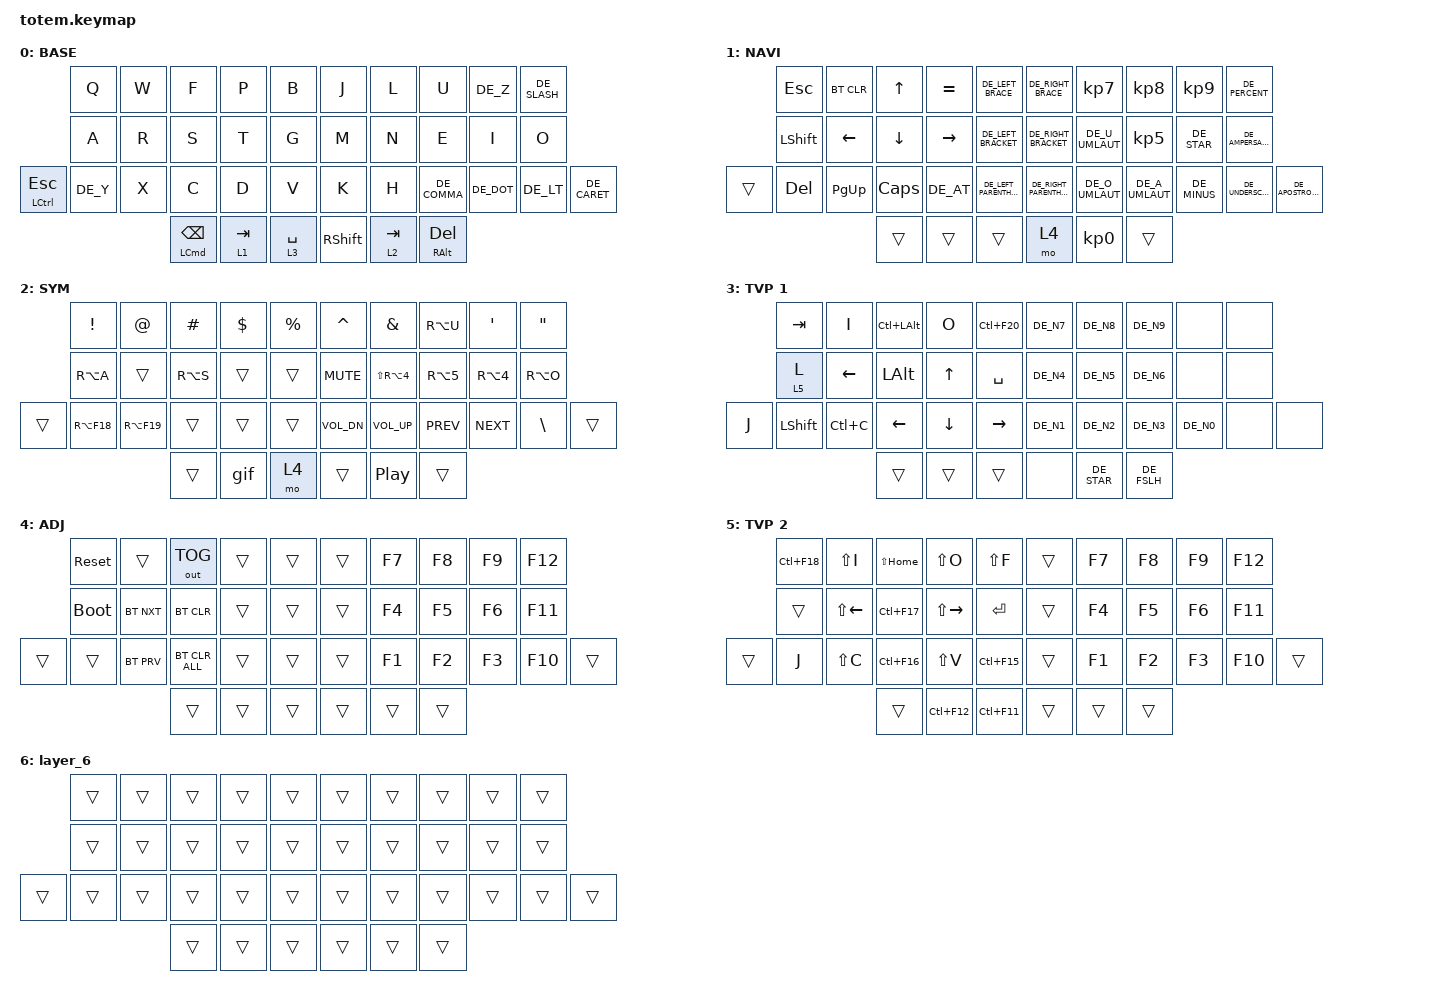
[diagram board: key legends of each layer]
//
//                                                        ▀▀▀▀▀     ▀▀▀▀▀          ▀▀█▀▀
//                                                        ▄▀▀▀▄  ▄  ▄▀▀▀▄  ▄  ▄▀▀▀▄  █  ▄▀▀▀▄
//                                                        █   █  █  █   █  █  █   █  █  █   █
//                                                         ▀▀▀   █   ▀▀▀   █   ▀▀▀   ▀   ▀▀▀
//                                                               █      ▄▄▄█▄▄▄    █   █  
//                                                               ▀      █  █  █     █▄█
//                                                             ▀▀▀▀▀    █  █  █      ▀
//                                                                      ▀  ▀  ▀
//
// ▄▄▄▄▄▄▄▄▄▄▄▄▄▄▄▄▄▄▄▄▄▄▄▄▄▄▄▄▄▄▄▄▄▄▄▄▄▄▄▄▄▄▄▄▄▄▄▄▄▄▄▄▄▄▄▄▄▄▄▄▄▄▄▄▄▄▄▄▄▄▄▄▄▄▄▄▄▄▄▄▄▄▄▄▄▄▄▄▄▄▄▄▄▄▄▄▄▄▄▄▄▄▄▄▄▄▄▄▄▄▄▄▄▄▄▄▄▄▄▄▄▄▄▄▄▄▄▄▄▄▄▄▄▄▄▄▄▄▄▄▄▄▄▄▄▄▄▄▄

#include "keys_de_swiss.h"
#include <behaviors.dtsi>
#include <dt-bindings/zmk/bt.h>
#include <dt-bindings/zmk/keys.h>
#include <dt-bindings/zmk/outputs.h>

#define BASE 0
#define NAV  1
#define SYM  2
#define ADJ  3
#define TVP1 4
#define TVP2 5

&mt {
    quick-tap-ms = <100>;
    global-quick-tap;
    flavor = "tap-preferred";
    tapping-term-ms = <170>;
};

/ {
    combos {
        compatible = "zmk,combos";

        combo_layer_3 {
            timeout-ms = <50>;
            key-positions = <0 1>;
            bindings = <&tog 4>;
        };

        combo_esc {
            timeout-ms = <100>;
            key-positions = <13 12>;
            bindings = <&kp ESC>;
        };

        combo_enter {
            bindings = <&kp ENTER>;
            key-positions = <16 17>;
        };
    };

    macros {
        gif: gif {
            label = "giphy";
            compatible = "zmk,behavior-macro";
            #binding-cells = <0>;
            bindings =
                <&macro_press>,
                <&kp LSHFT>,
                <&macro_tap>,
                <&kp N2>,
                <&macro_release>,
                <&kp LSHFT>,
                <&macro_tap>,
                <&kp G &kp I &kp F>;
        };
    };

    behaviors {
        hold_sticky: hold_sticky {
            compatible = "zmk,behavior-hold-tap";
            label = "HOLD_STICKY";
            bindings = <&kp>, <&sk>;

            #binding-cells = <2>;
            tapping-term-ms = <150>;
            quick-tap-ms = <220>;
        };
    };

    keymap {
        compatible = "zmk,keymap";

        // ▄▄▄▄▄▄▄▄▄▄▄▄▄▄▄▄▄▄▄▄▄▄▄▄▄▄▄▄▄▄▄▄▄▄▄▄▄▄▄▄▄▄▄▄▄▄▄▄▄▄▄▄▄▄▄▄▄▄▄▄▄▄▄▄▄▄▄▄▄▄▄▄▄▄▄▄▄▄▄▄▄▄▄▄▄▄▄▄▄▄▄▄▄▄▄▄▄▄▄▄▄▄▄▄▄▄▄▄▄▄▄▄▄▄▄▄▄▄▄▄▄▄▄▄▄▄▄▄▄▄▄▄▄▄▄▄▄▄▄▄▄▄▄▄▄▄▄▄▄

        base_layer {
            // ┏━━━━━━━━━━━━━━━━━━━━━━━━━━━━━━━━━━━━━━━┓

            label = "BASE";

            // ┗━━━━━━━━━━━━━━━━━━━━━━━━━━━━━━━━━━━━━━━┛
            //             ┏━━━━━━━━━━━┳━━━━━━━━━━━┳━━━━━━━━━━━┳━━━━━━━━━━━┳━━━━━━━━━━━┓   ┏━━━━━━━━━━━┳━━━━━━━━━━━┳━━━━━━━━━━━┳━━━━━━━━━━━┳━━━━━━━━━━━┓
            //             ┃     Q     ┃     W     ┃     F     ┃     P     ┃     G     ┃   ┃     J     ┃     L     ┃     U     ┃     Y     ┃     ;     ┃
            //             ┣━━━━━━━━━━━╋━━━━━━━━━━━╋━━━━━━━━━━━╋━━━━━━━━━━━╋━━━━━━━━━━━┫   ┣━━━━━━━━━━━╋━━━━━━━━━━━╋━━━━━━━━━━━╋━━━━━━━━━━━╋━━━━━━━━━━━┫
            //             ┃     A     ┃     R     ┃     S     ┃     T     ┃     D     ┃   ┃     H     ┃     N     ┃     E     ┃     I     ┃     O     ┃
            // ┏━━━━━━━━━━━╋━━━━━━━━━━━╋━━━━━━━━━━━╋━━━━━━━━━━━╋━━━━━━━━━━━╋━━━━━━━━━━━┫   ┣━━━━━━━━━━━╋━━━━━━━━━━━╋━━━━━━━━━━━╋━━━━━━━━━━━╋━━━━━━━━━━━╋━━━━━━━━━━━┓
            // ┃     Q     ┃     Z     ┃     X     ┃     C     ┃     V     ┃     B     ┃   ┃     K     ┃     M     ┃     ,     ┃     .     ┃     /     ┃     \     ┃
            // ┗━━━━━━━━━━━┻━━━━━━━━━━━┻━━━━━━━━━━━╋━━━━━━━━━━━╋━━━━━━━━━━━╋━━━━━━━━━━━┫   ┣━━━━━━━━━━━╋━━━━━━━━━━━╋━━━━━━━━━━━╋━━━━━━━━━━━┻━━━━━━━━━━━┻━━━━━━━━━━━┛
            //                                     ┃    DEL    ┃    TAB    ┃    SPC    ┃   ┃   ENTER   ┃           ┃   BSPC    ┃
            //                                     ┗━━━━━━━━━━━┻━━━━━━━━━━━┻━━━━━━━━━━━┛   ┗━━━━━━━━━━━┻━━━━━━━━━━━┻━━━━━━━━━━━┛

            bindings = <
                      &kp Q     &kp W  &kp F                       &kp P      &kp B          &kp J            &kp L      &kp U                 &kp DE_Z    &kp DE_SLASH
                      &kp A     &kp R  &kp S                       &kp T      &kp G          &kp M            &kp N      &kp E                 &kp I       &kp O
&mt LEFT_CONTROL ESC  &kp DE_Y  &kp X  &kp C                       &kp D      &kp V          &kp K            &kp H      &kp DE_COMMA          &kp DE_DOT  &kp DE_LT     &kp DE_CARET
                                       &mt LEFT_COMMAND BACKSPACE  &lt 1 TAB  &lt 3 SPACE    &kp RIGHT_SHIFT  &lt 2 TAB  &mt RIGHT_ALT DELETE
            >;
        };

        nav_layer {
            // ┏━━━━━━━━━━━━━━━━━━━━━━━━━━━━━━━━━━━━━━━┓

            label = "NAVI";

            // ┗━━━━━━━━━━━━━━━━━━━━━━━━━━━━━━━━━━━━━━━┛
            //             ┏━━━━━━━━━━━┳━━━━━━━━━━━┳━━━━━━━━━━━┳━━━━━━━━━━━┳━━━━━━━━━━━┓   ┏━━━━━━━━━━━┳━━━━━━━━━━━┳━━━━━━━━━━━┳━━━━━━━━━━━┳━━━━━━━━━━━┓
            //             ┃           ┃           ┃     UP    ┃           ┃     {     ┃   ┃     }     ┃     7     ┃     8     ┃     9     ┃     +     ┃
            //             ┣━━━━━━━━━━━╋━━━━━━━━━━━╋━━━━━━━━━━━╋━━━━━━━━━━━╋━━━━━━━━━━━┫   ┣━━━━━━━━━━━╋━━━━━━━━━━━╋━━━━━━━━━━━╋━━━━━━━━━━━╋━━━━━━━━━━━┫
            //             ┃   SHIFT   ┃   LEFT    ┃    DOWN   ┃   RIGHT   ┃     [     ┃   ┃     ]     ┃     4     ┃     5     ┃     6     ┃     -     ┃
            // ┏━━━━━━━━━━━╋━━━━━━━━━━━╋━━━━━━━━━━━╋━━━━━━━━━━━╋━━━━━━━━━━━╋━━━━━━━━━━━┫   ┣━━━━━━━━━━━╋━━━━━━━━━━━╋━━━━━━━━━━━╋━━━━━━━━━━━╋━━━━━━━━━━━╋━━━━━━━━━━━┓
            // ┃           ┃           ┃   P UP    ┃  C LOCK   ┃  P DOWN   ┃     (     ┃   ┃     )     ┃     1     ┃     2     ┃     3     ┃     *     ┃           ┃
            // ┗━━━━━━━━━━━┻━━━━━━━━━━━┻━━━━━━━━━━━╋━━━━━━━━━━━╋━━━━━━━━━━━╋━━━━━━━━━━━┫   ┣━━━━━━━━━━━╋━━━━━━━━━━━╋━━━━━━━━━━━╋━━━━━━━━━━━┻━━━━━━━━━━━┻━━━━━━━━━━━┛
            //                                     ┃           ┃    TAB    ┃    SPC    ┃   ┃    DEL    ┃     0     ┃           ┃
            //                                     ┗━━━━━━━━━━━┻━━━━━━━━━━━┻━━━━━━━━━━━┛   ┗━━━━━━━━━━━┻━━━━━━━━━━━┻━━━━━━━━━━━┛

            bindings = <
        &kp ESC    &bt BT_CLR  &kp UP    &kp EQUAL  &kp DE_LEFT_BRACE          &kp DE_RIGHT_BRACE        &kp KP_N7        &kp KP_N8        &kp KP_N9     &kp DE_PERCENT
        &kp LSHFT  &kp LEFT    &kp DOWN  &kp RIGHT  &kp DE_LEFT_BRACKET        &kp DE_RIGHT_BRACKET      &kp DE_U_UMLAUT  &kp KP_N5        &kp DE_STAR   &kp DE_AMPERSAND
&trans  &kp DEL    &kp PG_UP   &kp CAPS  &kp DE_AT  &kp DE_LEFT_PARENTHESIS    &kp DE_RIGHT_PARENTHESIS  &kp DE_O_UMLAUT  &kp DE_A_UMLAUT  &kp DE_MINUS  &kp DE_UNDERSCORE  &kp DE_APOSTROPHE
                               &trans    &trans     &trans                     &mo 4                     &kp KP_N0        &trans
            >;
        };

        sim_layer {
            // ┏━━━━━━━━━━━━━━━━━━━━━━━━━━━━━━━━━━━━━━━┓

            label = "SYM";

            // ┗━━━━━━━━━━━━━━━━━━━━━━━━━━━━━━━━━━━━━━━┛
            //             ┏━━━━━━━━━━━┳━━━━━━━━━━━┳━━━━━━━━━━━┳━━━━━━━━━━━┳━━━━━━━━━━━┓   ┏━━━━━━━━━━━┳━━━━━━━━━━━┳━━━━━━━━━━━┳━━━━━━━━━━━┳━━━━━━━━━━━┓
            //             ┃     !     ┃     @     ┃     #     ┃     $     ┃     %     ┃   ┃     ˆ     ┃     &     ┃     Ü     ┃     '     ┃     "     ┃
            //             ┣━━━━━━━━━━━╋━━━━━━━━━━━╋━━━━━━━━━━━╋━━━━━━━━━━━╋━━━━━━━━━━━┫   ┣━━━━━━━━━━━╋━━━━━━━━━━━╋━━━━━━━━━━━╋━━━━━━━━━━━╋━━━━━━━━━━━┫
            //             ┃     Ä     ┃           ┃    SZ     ┃           ┃           ┃   ┃   MUTE    ┃   YEN     ┃   EURO    ┃  POUND    ┃     Ö     ┃
            // ┏━━━━━━━━━━━╋━━━━━━━━━━━╋━━━━━━━━━━━╋━━━━━━━━━━━╋━━━━━━━━━━━╋━━━━━━━━━━━┫   ┣━━━━━━━━━━━╋━━━━━━━━━━━╋━━━━━━━━━━━╋━━━━━━━━━━━╋━━━━━━━━━━━╋━━━━━━━━━━━┓
            // ┃           ┃  EMAIL1   ┃  EMAIL2   ┃           ┃           ┃           ┃   ┃   VOL-    ┃   VOL+    ┃   LAST    ┃   NEXT    ┃     \     ┃           ┃
            // ┗━━━━━━━━━━━┻━━━━━━━━━━━┻━━━━━━━━━━━╋━━━━━━━━━━━╋━━━━━━━━━━━╋━━━━━━━━━━━┫   ┣━━━━━━━━━━━╋━━━━━━━━━━━╋━━━━━━━━━━━╋━━━━━━━━━━━┻━━━━━━━━━━━┻━━━━━━━━━━━┛
            //                                     ┃           ┃    GIF    ┃    ADJ    ┃   ┃           ┃           ┃           ┃
            //                                     ┗━━━━━━━━━━━┻━━━━━━━━━━━┻━━━━━━━━━━━┛   ┗━━━━━━━━━━━┻━━━━━━━━━━━┻━━━━━━━━━━━┛

            bindings = <
        &kp EXCL     &kp AT       &kp HASH   &kp DLLR  &kp PRCNT    &kp CARET     &kp AMPS        &kp RA(U)   &kp SQT     &kp DQT
        &kp RA(A)    &trans       &kp RA(S)  &trans    &trans       &kp C_MUTE    &kp LS(RA(N4))  &kp RA(N5)  &kp RA(N4)  &kp RA(O)
&trans  &kp RA(F18)  &kp RA(F19)  &trans     &trans    &trans       &kp C_VOL_DN  &kp C_VOL_UP    &kp C_PREV  &kp C_NEXT  &kp BSLH   &trans
                                  &trans     &gif      &mo 4        &trans        &kp C_PP        &trans
            >;
        };

        num_layer {
            // ┏━━━━━━━━━━━━━━━━━━━━━━━━━━━━━━━━━━━━━━━┓

            label = "TVP 1";

            // ┗━━━━━━━━━━━━━━━━━━━━━━━━━━━━━━━━━━━━━━━┛
            //             ┏━━━━━━━━━━━┳━━━━━━━━━━━┳━━━━━━━━━━━┳━━━━━━━━━━━┳━━━━━━━━━━━┓   ┏━━━━━━━━━━━┳━━━━━━━━━━━┳━━━━━━━━━━━┳━━━━━━━━━━━┳━━━━━━━━━━━┓
            //             ┃ NEXT FILE ┃ MARK IN   ┃ ROTATE    ┃ MARK OUT  ┃ SHOW SNAP ┃   ┃           ┃           ┃           ┃           ┃           ┃
            //             ┣━━━━━━━━━━━╋━━━━━━━━━━━╋━━━━━━━━━━━╋━━━━━━━━━━━╋━━━━━━━━━━━┫   ┣━━━━━━━━━━━╋━━━━━━━━━━━╋━━━━━━━━━━━╋━━━━━━━━━━━╋━━━━━━━━━━━┫
            //             ┃ TVP II    ┃ LEFT      ┃ PAN       ┃ RIGHT     ┃ PLAY/FLIP ┃   ┃           ┃           ┃           ┃           ┃           ┃
            // ┏━━━━━━━━━━━╋━━━━━━━━━━━╋━━━━━━━━━━━╋━━━━━━━━━━━╋━━━━━━━━━━━╋━━━━━━━━━━━┫   ┣━━━━━━━━━━━╋━━━━━━━━━━━╋━━━━━━━━━━━╋━━━━━━━━━━━╋━━━━━━━━━━━╋━━━━━━━━━━━┓
            // ┃ FULLSCR   ┃ SHIFT     ┃ COPY      ┃ DELETE    ┃ PASTE     ┃ IMG MARK  ┃   ┃           ┃           ┃           ┃           ┃           ┃           ┃
            // ┗━━━━━━━━━━━┻━━━━━━━━━━━┻━━━━━━━━━━━╋━━━━━━━━━━━╋━━━━━━━━━━━╋━━━━━━━━━━━┫   ┣━━━━━━━━━━━╋━━━━━━━━━━━╋━━━━━━━━━━━╋━━━━━━━━━━━┻━━━━━━━━━━━┻━━━━━━━━━━━┛
            //                                     ┃           ┃ UNDO/SAVE ┃  SEL/MOV  ┃   ┃           ┃           ┃           ┃
            //                                     ┗━━━━━━━━━━━┻━━━━━━━━━━━┻━━━━━━━━━━━┛   ┗━━━━━━━━━━━┻━━━━━━━━━━━┻━━━━━━━━━━━┛

            bindings = <
       &kp TAB    &kp I      &kp LC(LALT)    &kp O           &kp LC(F20)        &kp DE_N7  &kp DE_N8    &kp DE_N9    &none      &none
       &lt 5 L    &kp LEFT   &kp LALT        &kp UP_ARROW    &kp SPACE          &kp DE_N4  &kp DE_N5    &kp DE_N6    &none      &none
&kp J  &kp LSHFT  &kp LC(C)  &kp LEFT_ARROW  &kp DOWN_ARROW  &kp RIGHT_ARROW    &kp DE_N1  &kp DE_N2    &kp DE_N3    &kp DE_N0  &none  &none
                             &trans          &trans          &trans             &none      &kp DE_STAR  &kp DE_FSLH
            >;
        };

        adjust_layer {
            // ┏━━━━━━━━━━━━━━━━━━━━━━━━━━━━━━━━━━━━━━━┓

            label = "ADJ";

            // ┗━━━━━━━━━━━━━━━━━━━━━━━━━━━━━━━━━━━━━━━┛
            //             ┏━━━━━━━━━━━┳━━━━━━━━━━━┳━━━━━━━━━━━┳━━━━━━━━━━━┳━━━━━━━━━━━┓   ┏━━━━━━━━━━━┳━━━━━━━━━━━┳━━━━━━━━━━━┳━━━━━━━━━━━┳━━━━━━━━━━━┓
            //             ┃   RESET   ┃ BT CLEAR  ┃  OUT TOG  ┃           ┃           ┃   ┃           ┃    F7     ┃    F8     ┃    F9     ┃    F12    ┃
            //             ┣━━━━━━━━━━━╋━━━━━━━━━━━╋━━━━━━━━━━━╋━━━━━━━━━━━╋━━━━━━━━━━━┫   ┣━━━━━━━━━━━╋━━━━━━━━━━━╋━━━━━━━━━━━╋━━━━━━━━━━━╋━━━━━━━━━━━┫
            //             ┃ BOOTLOAD  ┃ BT NEXT   ┃           ┃           ┃           ┃   ┃           ┃    F4     ┃    F5     ┃    F6     ┃    F11    ┃
            // ┏━━━━━━━━━━━╋━━━━━━━━━━━╋━━━━━━━━━━━╋━━━━━━━━━━━╋━━━━━━━━━━━╋━━━━━━━━━━━┫   ┣━━━━━━━━━━━╋━━━━━━━━━━━╋━━━━━━━━━━━╋━━━━━━━━━━━╋━━━━━━━━━━━╋━━━━━━━━━━━┓
            // ┃           ┃           ┃ BT PREV   ┃           ┃           ┃           ┃   ┃           ┃    F1     ┃    F2     ┃    F3     ┃    F10    ┃           ┃
            // ┗━━━━━━━━━━━┻━━━━━━━━━━━┻━━━━━━━━━━━╋━━━━━━━━━━━╋━━━━━━━━━━━╋━━━━━━━━━━━┫   ┣━━━━━━━━━━━╋━━━━━━━━━━━╋━━━━━━━━━━━╋━━━━━━━━━━━┻━━━━━━━━━━━┻━━━━━━━━━━━┛
            //                                     ┃           ┃           ┃           ┃   ┃           ┃           ┃           ┃
            //                                     ┗━━━━━━━━━━━┻━━━━━━━━━━━┻━━━━━━━━━━━┛   ┗━━━━━━━━━━━┻━━━━━━━━━━━┻━━━━━━━━━━━┛

            bindings = <
        &sys_reset   &trans      &out OUT_TOG    &trans  &trans    &trans  &kp F7  &kp F8  &kp F9  &kp F12
        &bootloader  &bt BT_NXT  &bt BT_CLR      &trans  &trans    &trans  &kp F4  &kp F5  &kp F6  &kp F11
&trans  &trans       &bt BT_PRV  &bt BT_CLR_ALL  &trans  &trans    &trans  &kp F1  &kp F2  &kp F3  &kp F10  &trans
                                 &trans          &trans  &trans    &trans  &trans  &trans
            >;
        };

        tvp2_layer {
            // ┏━━━━━━━━━━━━━━━━━━━━━━━━━━━━━━━━━━━━━━━┓

            label = "TVP 2";

            // ┗━━━━━━━━━━━━━━━━━━━━━━━━━━━━━━━━━━━━━━━┛
            //             ┏━━━━━━━━━━━┳━━━━━━━━━━━┳━━━━━━━━━━━┳━━━━━━━━━━━┳━━━━━━━━━━━┓   ┏━━━━━━━━━━━┳━━━━━━━━━━━┳━━━━━━━━━━━┳━━━━━━━━━━━┳━━━━━━━━━━━┓
            //             ┃ SOLO      ┃ TOGGLE IN ┃ RESET ROT ┃ TOGGLE OUT┃ TAKE SNAP ┃   ┃           ┃           ┃           ┃           ┃           ┃
            //             ┣━━━━━━━━━━━╋━━━━━━━━━━━╋━━━━━━━━━━━╋━━━━━━━━━━━╋━━━━━━━━━━━┫   ┣━━━━━━━━━━━╋━━━━━━━━━━━╋━━━━━━━━━━━╋━━━━━━━━━━━╋━━━━━━━━━━━┫
            //             ┃ ---       ┃ LAST KEY  ┃ NEW KEY   ┃ NEXT KEY  ┃ ENTER     ┃   ┃           ┃           ┃           ┃           ┃           ┃
            // ┏━━━━━━━━━━━╋━━━━━━━━━━━╋━━━━━━━━━━━╋━━━━━━━━━━━╋━━━━━━━━━━━╋━━━━━━━━━━━┫   ┣━━━━━━━━━━━╋━━━━━━━━━━━╋━━━━━━━━━━━╋━━━━━━━━━━━╋━━━━━━━━━━━╋━━━━━━━━━━━┓
            // ┃           ┃ FULLSCR   ┃ CPY2BRUSH ┃ DEL HEAD  ┃ PSTinPLACE┃ BOOK MARK ┃   ┃           ┃           ┃           ┃           ┃           ┃           ┃
            // ┗━━━━━━━━━━━┻━━━━━━━━━━━┻━━━━━━━━━━━╋━━━━━━━━━━━╋━━━━━━━━━━━╋━━━━━━━━━━━┫   ┣━━━━━━━━━━━╋━━━━━━━━━━━╋━━━━━━━━━━━╋━━━━━━━━━━━┻━━━━━━━━━━━┻━━━━━━━━━━━┛
            //                                     ┃           ┃ REDO/SAV1 ┃TRANS/WARP ┃   ┃           ┃           ┃           ┃
            //                                     ┗━━━━━━━━━━━┻━━━━━━━━━━━┻━━━━━━━━━━━┛   ┗━━━━━━━━━━━┻━━━━━━━━━━━┻━━━━━━━━━━━┛

            bindings = <
        &kp LC(F18)  &kp LS(I)     &kp LS(HOME)  &kp LS(O)      &kp LS(F)      &trans  &kp F7  &kp F8  &kp F9  &kp F12
        &trans       &kp LS(LEFT)  &kp LC(F17)   &kp LS(RIGHT)  &kp RET        &trans  &kp F4  &kp F5  &kp F6  &kp F11
&trans  &kp J        &kp LS(C)     &kp LC(F16)   &kp LS(V)      &kp LC(F15)    &trans  &kp F1  &kp F2  &kp F3  &kp F10  &trans
                                   &trans        &kp LC(F12)    &kp LC(F11)    &trans  &trans  &trans
            >;
        };

        layer_6 {
            bindings = <
        &trans  &trans  &trans  &trans  &trans    &trans  &trans  &trans  &trans  &trans
        &trans  &trans  &trans  &trans  &trans    &trans  &trans  &trans  &trans  &trans
&trans  &trans  &trans  &trans  &trans  &trans    &trans  &trans  &trans  &trans  &trans  &trans
                        &trans  &trans  &trans    &trans  &trans  &trans
            >;
        };
    };
};
